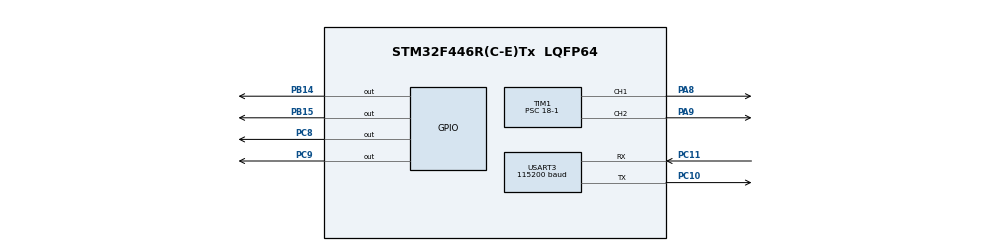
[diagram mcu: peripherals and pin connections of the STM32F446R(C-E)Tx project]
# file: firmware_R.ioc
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Dma.Request0=USART3_RX
Dma.USART3_RX.0.Direction=DMA_PERIPH_TO_MEMORY
Dma.USART3_RX.0.FIFOMode=DMA_FIFOMODE_DISABLE
Dma.USART3_RX.0.Instance=DMA1_Stream1
Dma.USART3_RX.0.MemDataAlignment=DMA_MDATAALIGN_BYTE
Dma.USART3_RX.0.MemInc=DMA_MINC_ENABLE
Dma.USART3_RX.0.Mode=DMA_CIRCULAR
Dma.USART3_RX.0.PeriphDataAlignment=DMA_PDATAALIGN_BYTE
Dma.USART3_RX.0.PeriphInc=DMA_PINC_DISABLE
Dma.USART3_RX.0.Priority=DMA_PRIORITY_LOW
Mcu.Family=STM32F4
Mcu.Name=STM32F446R(C-E)Tx
Mcu.Package=LQFP64
NVIC.DMA1_Stream1_IRQn=true\:0\:0\:false\:false\:true\:false\:true\:true
NVIC.PriorityGroup=NVIC_PRIORITYGROUP_4
NVIC.TIM1_BRK_TIM9_IRQn=true\:0\:0\:false\:false\:true\:true\:true\:true
NVIC.TIM1_CC_IRQn=true\:0\:0\:false\:false\:true\:true\:true\:true
NVIC.TIM1_TRG_COM_TIM11_IRQn=true\:0\:0\:false\:false\:true\:true\:true\:true
NVIC.TIM1_UP_TIM10_IRQn=true\:0\:0\:false\:false\:true\:true\:true\:true
NVIC.TIM6_DAC_IRQn=true\:0\:0\:false\:false\:true\:true\:true\:true
NVIC.USART3_IRQn=true\:0\:0\:false\:false\:true\:true\:true\:true
PA13.Mode=Serial_Wire
PA13.Signal=SYS_JTMS-SWDIO
PA14.Mode=Serial_Wire
PA14.Signal=SYS_JTCK-SWCLK
PA8.Signal=S_TIM1_CH1
PA9.Signal=S_TIM1_CH2
PB14.Signal=GPIO_Output
PB15.Signal=GPIO_Output
PC10.Mode=Asynchronous
PC10.Signal=USART3_TX
PC11.Mode=Asynchronous
PC11.Signal=USART3_RX
PC8.Signal=GPIO_Output
PC9.Signal=GPIO_Output
PH0-OSC_IN.Mode=HSE-External-Oscillator
PH0-OSC_IN.Signal=RCC_OSC_IN
PH1-OSC_OUT.Mode=HSE-External-Oscillator
PH1-OSC_OUT.Signal=RCC_OSC_OUT
ProjectManager.HeapSize=0x200
ProjectManager.StackSize=0x400
ProjectManager.TargetToolchain=STM32CubeIDE
RCC.AHBFreq_Value=180000000
RCC.APB1CLKDivider=RCC_HCLK_DIV4
RCC.APB1Freq_Value=45000000
RCC.APB1TimFreq_Value=90000000
RCC.APB2CLKDivider=RCC_HCLK_DIV2
RCC.APB2Freq_Value=90000000
RCC.APB2TimFreq_Value=180000000
RCC.CortexFreq_Value=180000000
RCC.HCLKFreq_Value=180000000
RCC.HSE_VALUE=16000000
RCC.PLLM=8
RCC.PLLN=180
RCC.SYSCLKFreq_VALUE=180000000
RCC.SYSCLKSource=RCC_SYSCLKSOURCE_PLLCLK
RCC.USBFreq_Value=180000000
RCC.VCOOutputFreq_Value=360000000
SH.S_TIM1_CH1.0=TIM1_CH1,PWM Generation1 CH1
SH.S_TIM1_CH2.0=TIM1_CH2,PWM Generation2 CH2
TIM1.AutomaticOutput=TIM_AUTOMATICOUTPUT_ENABLE
TIM1.Channel-PWM\ Generation1\ CH1=TIM_CHANNEL_1
TIM1.Channel-PWM\ Generation2\ CH2=TIM_CHANNEL_2
TIM1.Period=1000-1
TIM1.Prescaler=18-1
TIM6.Period=20000-1
TIM6.Prescaler=90-1
USART3.BaudRate=115200
USART3.VirtualMode=VM_ASYNC
VP_TIM6_VS_ClockSourceINT.Mode=Enable_Timer
board=custom

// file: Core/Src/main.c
/* USER CODE BEGIN Header */
/**
  ******************************************************************************
  * @file           : main.c
  * @brief          : Main program body
  ******************************************************************************
  * @attention
  *
  * Copyright (c) 2023 STMicroelectronics.
  * All rights reserved.
  *
  * This software is licensed under terms that can be found in the LICENSE file
  * in the root directory of this software component.
  * If no LICENSE file comes with this software, it is provided AS-IS.
  *
  ******************************************************************************
  */
/* USER CODE END Header */
#include "main.h"
#include "dma.h"
#include "tim.h"
#include "usart.h"
#include "gpio.h"

/* USER CODE BEGIN Includes */

#include "JControl.h"
#include "Protocol2.h"
#include "iBus.h"

/* USER CODE END Includes */

/* USER CODE BEGIN PV */

//direction
DIRECTION Direction1;
DIRECTION Direction2;

//duty
DUTY MotorDutyVelocity1;
DUTY MotorDutyVelocity2;

//uart
PROTOCOL2 protocol2;
uint8_t protocol2RX[PROTOCOL2_RX_BUFFER_SIZE];

/* USER CODE END PV */

void SystemClock_Config(void);

/* USER CODE BEGIN 0 */

void SetDirection()
{
	Direction1.FrontEncoderDirection = CW;
	Direction1.FrontMotorDirection = SET;

	Direction2.FrontEncoderDirection = CW;
	Direction2.FrontMotorDirection = SET;
}

void SetDutyControl()
{
	MotorDutyVelocity1.duty = 0;
	MotorDutyVelocity1.dutylimit = 900;

	MotorDutyVelocity2.duty = 0;
	MotorDutyVelocity2.dutylimit = 900;
}

/* USER CODE END 0 */

int main(void)
{
  /* USER CODE BEGIN 1 */

  SetDirection();
  SetDutyControl();

  /* USER CODE END 1 */

  /* MCU Configuration--------------------------------------------------------*/

  /* Reset of all peripherals, Initializes the Flash interface and the Systick. */
  LL_APB2_GRP1_EnableClock(LL_APB2_GRP1_PERIPH_SYSCFG);
  LL_APB1_GRP1_EnableClock(LL_APB1_GRP1_PERIPH_PWR);

  /* System interrupt init*/
  NVIC_SetPriorityGrouping(NVIC_PRIORITYGROUP_4);

  /* SysTick_IRQn interrupt configuration */
  NVIC_SetPriority(SysTick_IRQn, NVIC_EncodePriority(NVIC_GetPriorityGrouping(),15, 0));

  /* Configure the system clock */
  SystemClock_Config();

  /* Initialize all configured peripherals */
  MX_GPIO_Init();
  MX_DMA_Init();
  MX_USART3_UART_Init();
  MX_TIM1_Init();
  MX_TIM6_Init();
  /* USER CODE BEGIN 2 */

  //uart
  LL_DMA_ConfigAddresses(DMA1,
		  LL_DMA_STREAM_1,
		  LL_USART_DMA_GetRegAddr(USART3),
		  protocol2RX,
		  LL_DMA_DIRECTION_PERIPH_TO_MEMORY);
  LL_DMA_SetDataLength(DMA1, LL_DMA_STREAM_1, sizeof(protocol2RX));
  LL_DMA_EnableStream(DMA1, LL_DMA_STREAM_1);
  LL_USART_EnableIT_IDLE(USART3);
  LL_USART_EnableDMAReq_RX(USART3);

  //pwm
  LL_TIM_CC_EnableChannel(TIM1, LL_TIM_CHANNEL_CH1);
  LL_TIM_CC_EnableChannel(TIM1, LL_TIM_CHANNEL_CH2);
  LL_TIM_EnableCounter(TIM1);

  //timerIT
  LL_TIM_EnableIT_UPDATE(TIM6);
  LL_TIM_EnableCounter(TIM6);

  /* USER CODE END 2 */

  /* Infinite loop */
  while (1)
  {

  }
}

void SystemClock_Config(void)
{
  LL_FLASH_SetLatency(LL_FLASH_LATENCY_5);
  while(LL_FLASH_GetLatency()!= LL_FLASH_LATENCY_5)
  {
  }
  LL_PWR_SetRegulVoltageScaling(LL_PWR_REGU_VOLTAGE_SCALE1);
  LL_PWR_EnableOverDriveMode();
  LL_RCC_HSI_SetCalibTrimming(16);
  LL_RCC_HSI_Enable();

   /* Wait till HSI is ready */
  while(LL_RCC_HSI_IsReady() != 1)
  {

  }
  LL_RCC_PLL_ConfigDomain_SYS(LL_RCC_PLLSOURCE_HSI, LL_RCC_PLLM_DIV_8, 180, LL_RCC_PLLP_DIV_2);
  LL_RCC_PLL_Enable();

   /* Wait till PLL is ready */
  while(LL_RCC_PLL_IsReady() != 1)
  {

  }
  while (LL_PWR_IsActiveFlag_VOS() == 0)
  {
  }
  LL_RCC_SetAHBPrescaler(LL_RCC_SYSCLK_DIV_1);
  LL_RCC_SetAPB1Prescaler(LL_RCC_APB1_DIV_4);
  LL_RCC_SetAPB2Prescaler(LL_RCC_APB2_DIV_2);
  LL_RCC_SetSysClkSource(LL_RCC_SYS_CLKSOURCE_PLL);

   /* Wait till System clock is ready */
  while(LL_RCC_GetSysClkSource() != LL_RCC_SYS_CLKSOURCE_STATUS_PLL)
  {

  }
  LL_Init1msTick(180000000);
  LL_SetSystemCoreClock(180000000);
  LL_RCC_SetTIMPrescaler(LL_RCC_TIM_PRESCALER_TWICE);
}

void Error_Handler(void)
{
  __disable_irq();
  while (1)
  {
  }
}
